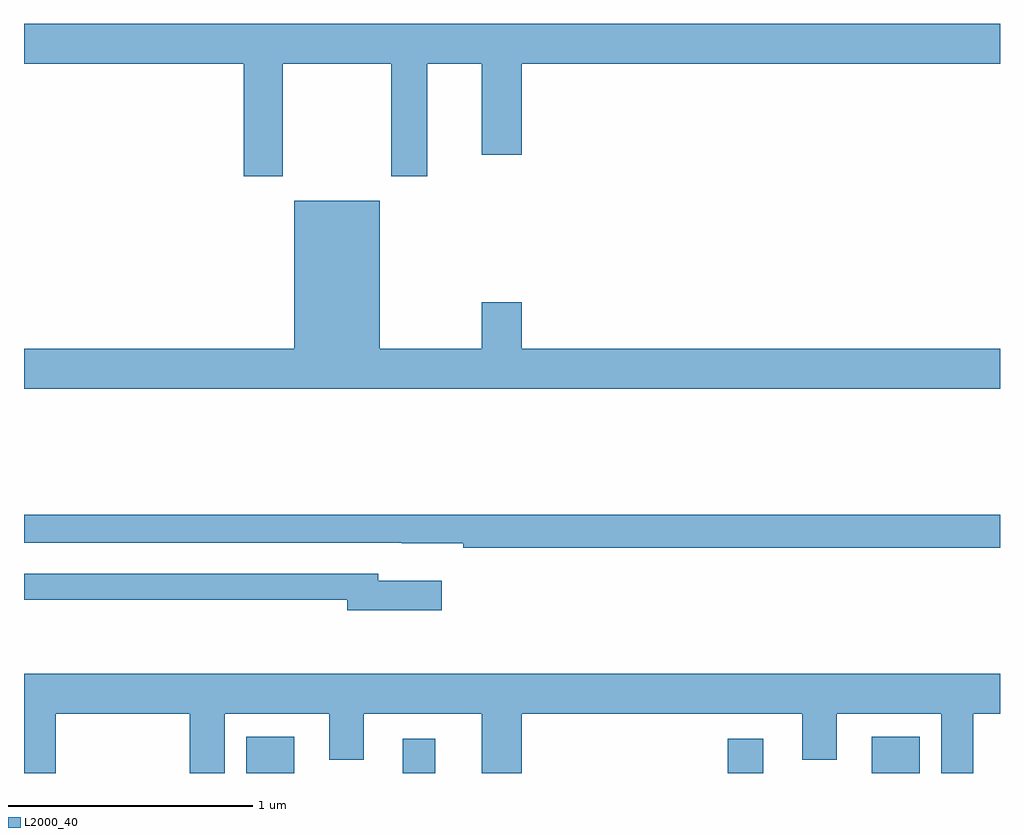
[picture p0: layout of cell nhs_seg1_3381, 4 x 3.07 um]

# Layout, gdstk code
import gdstk
lib = gdstk.Library(unit=1e-6, precision=1e-09)
def R(c, l, rs):  # rectangles x0, y0, x1, y1
    for r in rs: c.add(gdstk.rectangle(r[:2], r[2:], *l))
def P(c, l, *ps):  # polygons
    for p in ps: c.add(gdstk.Polygon(p, *l))
L2000_40 = (2000, 40)

nhs_seg1_3381 = lib.new_cell('nhs_seg1_3381')
R(nhs_seg1_3381, L2000_40, [(295.911,506.199,296.107,506.35), (296.552,506.199,296.686,506.341), (297.884,506.199,298.03,506.341), (298.475,506.199,298.671,506.35)])
P(nhs_seg1_3381, L2000_40, [(296.061,509.108),(296.506,509.108),(296.506,508.647),(296.653,508.647),(296.653,509.108),(296.876,509.108),(296.876,508.734),(297.04,508.734),(297.04,509.108),(299,509.108),(299,509.272),(295,509.272),(295,509.108),(295.901,509.108),(295.901,508.647),(296.061,508.647)],
  [(299,507.94),(297.04,507.94),(297.04,508.129),(296.876,508.129),(296.876,507.94),(296.458,507.94),(296.458,508.546),(296.108,508.546),(296.108,507.94),(295,507.94),(295,507.776),(299,507.776)],
  [(299,507.26),(295,507.26),(295,507.144),(296.548,507.144),(296.548,507.143),(296.8,507.143),(296.8,507.124),(299,507.124)],
  [(296.713,506.989),(296.452,506.989),(296.452,507.018),(295,507.018),(295,506.91),(296.324,506.91),(296.324,506.867),(296.713,506.867)],
  [(295.13,506.444),(295.679,506.444),(295.679,506.199),(295.822,506.199),(295.822,506.444),(296.252,506.444),(296.252,506.254),(296.392,506.254),(296.392,506.444),(296.876,506.444),(296.876,506.199),(297.04,506.199),(297.04,506.444),(298.19,506.444),(298.19,506.254),(298.33,506.254),(298.33,506.444),(298.76,506.444),(298.76,506.199),(298.891,506.199),(298.891,506.444),(299,506.444),(299,506.608),(295,506.608),(295,506.199),(295.13,506.199)])

lib.write_gds('nhs_seg1_3381.gds')
